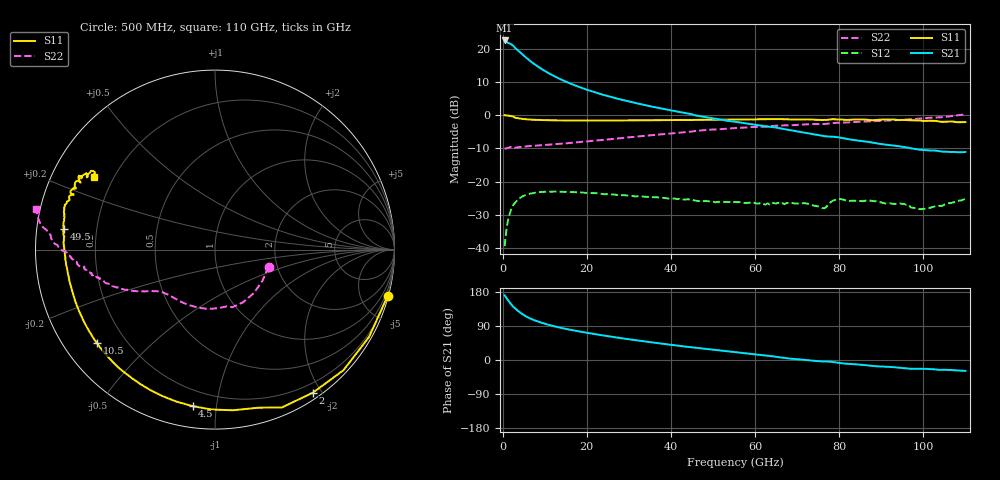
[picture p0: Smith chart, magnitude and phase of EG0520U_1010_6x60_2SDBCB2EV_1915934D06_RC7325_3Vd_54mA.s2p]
!File name = EG0520U_1010_6x60_2SDBCB2EV_1915934D06_RC7325_3Vd_54mA.s2p
!Base file name = EG0520U_1010_6x60_2SDBCB2EV_1915934D06_RC7325
!Date = 8/23/2019
!Time = 1:09 PM
!Test duration(min) = 0.15
!Test = S-Parameters
!MPTS version = 8.91.5
!State File = C:\Data\PNA\20190821205423\S-Parameters_2019-08-23.sta
!Cal File =
!ComputerName = CMPE-LAB-6
!Comments =
!Attenuation = 0
!Z0 = 50
!Input Power(dBm) = -13.00
!Device ID = EG0520U_1010_6x60_2SDBCB2EV
!Row = 73
!Column = 25
!Technology = QPHT09
!Lot/Wafer = 1915934D06
!Gate Size = 360
!Mask = EG0520
!Cal Standards = GaAs BCB
!Cal Kit = EG2306
!Job Number = 20190821205423
!Device Type = FET
!set_Vg(v) = -1.500
!set_Vd(v) = 3.000
!set_Vd(mA) = 54.000
!file_name = EG0520U_1010_6x60_2SDBCB2EV_1915934D06_RC7325_3Vd_54mA.s2p
!Vd(V) = 3.000
!Vd(mA) = 54.096
!Vg(V) = -0.456
!Vg(mA) = -0.001
# GHz  S  DB  R  50
!%	Freq(GHz)  s11(dB)  s11(deg)  s21(dB)  s21(deg)  s12(dB)  s12(deg)  s22(dB)  s22(deg)
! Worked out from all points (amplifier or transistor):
!   220 points, 500 MHz to 110 GHz, reference 50 ohm
!   highest |S21| = 22.5 dB at 500 MHz (marker M1)
!   |S21| within 3 dB of that: start of sweep to 3.666 GHz
!   unconditionally stable (mu >= 1): 32.98 GHz to 105 GHz
!   at 18.5 GHz: K = 0.54, MSG = 15.8 dB, |S12| = -23.3 dB
!   at 55.5 GHz: K = 1.53, MAG = 7.8 dB, |S12| = -26.1 dB
!   at 110 GHz: K = -1.41, MSG = 7.0 dB, |S12| = -25.2 dB
!   S11 on the Smith chart (normalised r, x): 500 MHz: 0.12, -7.64; 2 GHz: 0.08, -1.90; 4.5 GHz: 0.11, -0.86; 10.5 GHz: 0.10, -0.34; 49.5 GHz: 0.08, +0.07; 110 GHz: 0.13, +0.27
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0.5  -0.03 -14.9  22.48 170.9  -39.46 81.4  -10.08 -17.5
1  -0.12 -29.5  22.02 162.4  -33.69 73.6  -10.00 -33.3
2  -0.30 -55.6  21.39 147.6  -28.55 59.4  -9.56 -62.2
2.5  -0.40 -67.0  20.94 141.2  -27.18 53.5  -9.49 -73.3
3  -0.79 -74.7  20.24 136.1  -26.38 49.2  -9.82 -78.0
3.5  -0.91 -83.5  19.67 131.1  -25.63 44.8  -9.72 -86.2
4.5  -1.10 -98.1  18.53 122.5  -24.64 37.5  -9.54 -99.6
5.5  -1.24 -109.7  17.43 115.7  -24.05 31.9  -9.44 -109.5
7  -1.38 -122.7  15.90 107.5  -23.53 25.5  -9.26 -119.8
8.5  -1.45 -132.1  14.55 101.2  -23.22 21.0  -9.14 -126.4
10.5  -1.52 -141.7  12.97 94.2  -23.07 16.1  -8.96 -132.8
14  -1.60 -152.9  10.67 84.6  -23.06 10.7  -8.60 -139.3
19  -1.63 -162.8  8.12 73.8  -23.30 5.9  -8.03 -144.2
26.5  -1.61 -171.9  5.22 60.4  -23.89 2.7  -7.11 -148.3
37  -1.52 -179.9  2.18 44.4  -24.77 2.9  -5.84 -153.1
49.5  -1.42 172.4  -0.86 27.8  -26.08 3.2  -4.39 -160.1
55.5  -1.34 168.9  -2.05 20.7  -26.13 5.8  -3.89 -163.2
73.5  -1.34 159.3  -5.67 -1.6  -27.09 1.2  -2.67 -171.5
80  -1.34 156.6  -6.72 -7.8  -25.23 5.2  -2.30 -173.8
92  -1.32 151.4  -9.03 -18.3  -26.53 -11.5  -1.62 -179.0
99.5  -1.67 149.7  -10.43 -23.1  -28.33 -12.5  -1.00 178.0
110  -2.11 149.1  -11.09 -28.8  -25.18 -10.5  0.21 167.2
